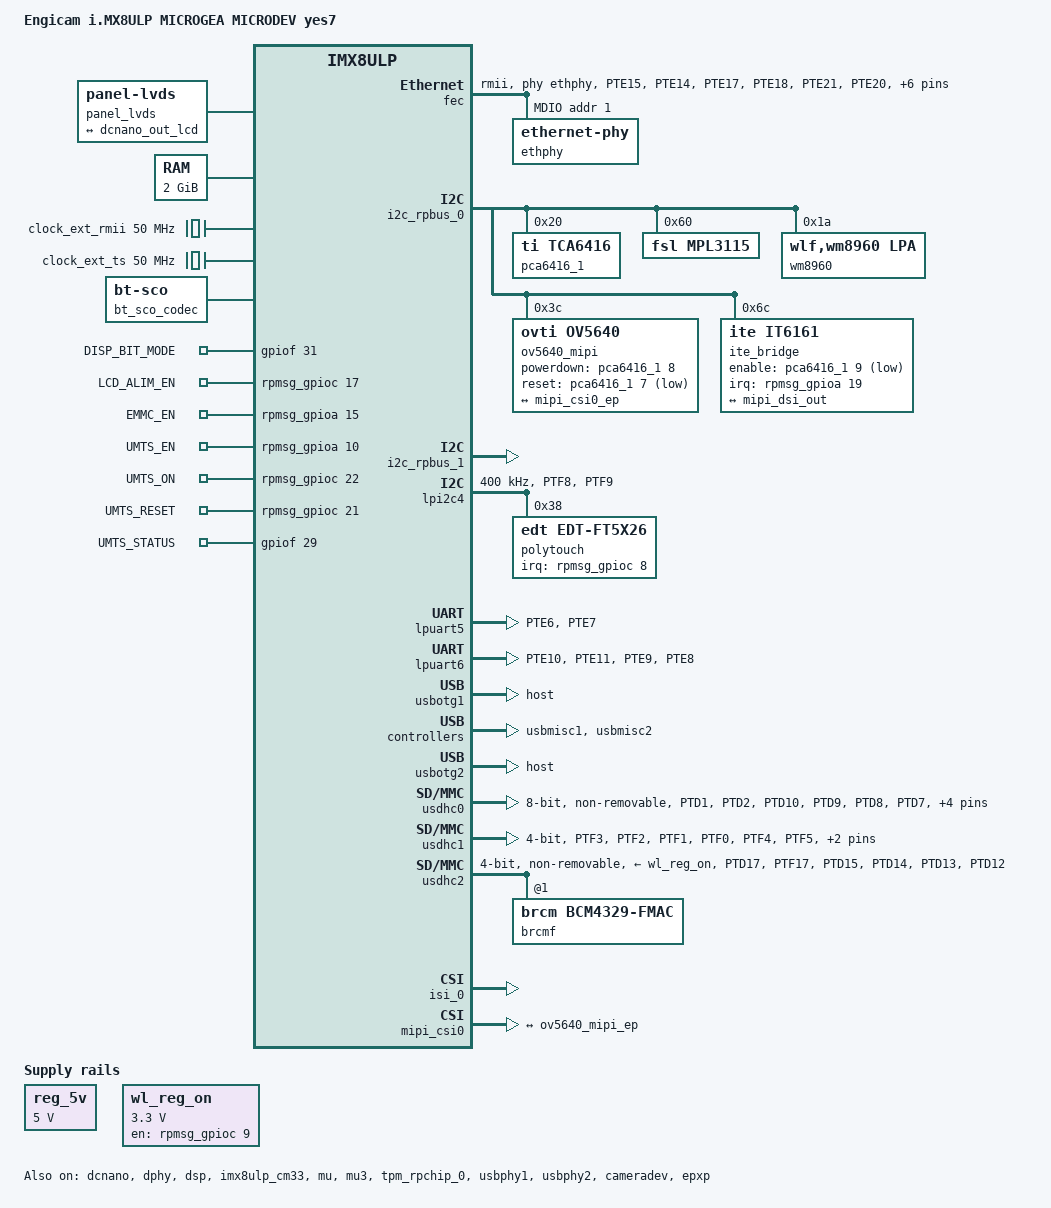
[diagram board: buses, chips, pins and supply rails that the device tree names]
// SPDX-License-Identifier: (GPL-2.0+ OR MIT)
/*
 * Copyright 2021 NXP
 */

/dts-v1/;

#include "../freescale/imx8ulp.dtsi"
#include "../freescale/imx8ulp-rpmsg.dtsi"
#include <dt-bindings/input/input.h>

/ {
	model = "Engicam i.MX8ULP MICROGEA MICRODEV yes7";
	compatible = "engi,imx8ulp", "fsl,imx8ulp";

	chosen {
		stdout-path = &lpuart5;
	};

	panel_lvds: panel-lvds {
		compatible = "panel-lvds";
		width-mm = <152>;
		height-mm = <92>;
		data-mapping = "vesa-24";
		status = "okay";

		panel-timing {
			/* 1024x600 @65Hz */
			clock-frequency = <60000000>;
			hactive = <1024>;
			vactive = <600>;
			hsync-len = <20>;
			hfront-porch = <150>;
			hback-porch = <150>;
			vfront-porch = <15>;
			vback-porch = <15>;
			vsync-len = <5>;
		};

		port {
			panel_in_rgb: endpoint {
				remote-endpoint = <&dcnano_out_lcd>;
			};
		};
	};

	memory@40000000 {
		device_type = "memory";
		reg = <0x0 0x80000000 0 0x80000000>;
	};

	rpmsg_keys: rpmsg-keys {
		compatible = "fsl,rpmsg-keys";

		volume-up {
			label = "VolumeUp";
			linux,code = <KEY_VOLUMEUP>;
			rpmsg-key,wakeup;
		};

		volume-down {
			label = "VolumeDown";
			linux,code = <KEY_VOLUMEDOWN>;
			rpmsg-key,wakeup;
		};
	};

	reserved-memory {
		#address-cells = <2>;
		#size-cells = <2>;
		ranges;

		linux,cma {
			compatible = "shared-dma-pool";
			reusable;
			size = <0 0x28000000>;
			linux,cma-default;
		};

		rsc_table: rsc-table@1fff8000{
			reg = <0 0x1fff8000 0 0x1000>;
			no-map;
		};

		dsp_reserved: dsp_reserved@8e000000 {
			reg = <0 0x8e000000 0 0x1000000>;
			no-map;
		};
		dsp_reserved_heap: dsp_reserved_heap {
			reg = <0 0x8f000000 0 0xef0000>;
			no-map;
		};
		dsp_vdev0vring0: vdev0vring0@8fef0000 {
			reg = <0 0x8fef0000 0 0x8000>;
			no-map;
		};
		dsp_vdev0vring1: vdev0vring1@8fef8000 {
			reg = <0 0x8fef8000 0 0x8000>;
			no-map;
		};
		dsp_vdev0buffer: vdev0buffer@8ff00000 {
			compatible = "shared-dma-pool";
			reg = <0 0x8ff00000 0 0x100000>;
			no-map;
		};

		vdev0vring0: vdev0vring0@aff00000 {
			reg = <0 0xaff00000 0 0x8000>;
			no-map;
		};

		vdev0vring1: vdev0vring1@aff08000 {
			reg = <0 0xaff08000 0 0x8000>;
			no-map;
		};

		vdev1vring0: vdev1vring0@aff10000 {
			reg = <0 0xaff10000 0 0x8000>;
			no-map;
		};

		vdev1vring1: vdev1vring1@aff18000 {
			reg = <0 0xaff18000 0 0x8000>;
			no-map;
		};

		vdevbuffer: vdevbuffer@a8400000 {
			compatible = "shared-dma-pool";
			reg = <0 0xa8400000 0 0x100000>;
			no-map;
		};

		audio_reserved: audio@a8500000 {
			compatible = "shared-dma-pool";
			no-map;
			reg = <0 0xa8500000 0 0x100000>;
		};

		m33_reserved: m33_noncacheable_section@a8600000 {
			no-map;
			reg = <0 0xa8600000 0 0x1000000>;
		};
	};

	clock_ext_rmii: clock-ext-rmii {
		compatible = "fixed-clock";
		clock-frequency = <50000000>;
		clock-output-names = "ext_rmii_clk";
		#clock-cells = <0>;
	};

	clock_ext_ts: clock-ext-ts {
		compatible = "fixed-clock";
		/* External ts clock is 50MHZ from PHY on EVK board. */
		clock-frequency = <50000000>;
		clock-output-names = "ext_ts_clk";
		#clock-cells = <0>;
	};

	reg_5v: regulator-5v {
		compatible = "regulator-fixed";
		regulator-name = "5V";
		regulator-min-microvolt = <5000000>;
		regulator-max-microvolt = <5000000>;
		regulator-always-on;
	};

	bt_sco_codec: bt_sco_codec {
		#sound-dai-cells = <1>;
		compatible = "linux,bt-sco";
	};

	sound-bt-sco {
		compatible = "simple-audio-card";
		simple-audio-card,name = "bt-sco-audio";
		simple-audio-card,format = "dsp_a";
		simple-audio-card,bitclock-inversion;
		simple-audio-card,frame-master = <&btcpu>;
		simple-audio-card,bitclock-master = <&btcpu>;

		btcpu: simple-audio-card,cpu {
			sound-dai = <&sai5>;
			dai-tdm-slot-num = <2>;
			dai-tdm-slot-width = <16>;
		};

		simple-audio-card,codec {
			sound-dai = <&bt_sco_codec 1>;
		};
	};

	sound-spdif {
		compatible = "fsl,imx-audio-spdif";
		model = "imx-spdif";
		spdif-controller = <&spdif>;
		spdif-out;
		fsl,constraint-rate = <16000>, <32000>, <48000>,
				      <64000>, <96000>, <192000>;
	};

	rpmsg_audio: rpmsg-audio {
		compatible = "fsl,imx8ulp-rpmsg-audio";
		model = "wm8960-audio";
		fsl,rpmsg-out;
		fsl,rpmsg-in;
		audio-codec = <&wm8960>;
		memory-region = <&audio_reserved>;
		audio-routing =
			"LINPUT1", "MICB",
			"LINPUT3", "MICB";
		status = "okay";
	};

	gpio_export {
		compatible = "gpio-export";
		#size-cells = <0>;

		DISP_BIT_MODE {
			gpio-export,name = "DISP_BIT_MODE";
			gpio-export,output = <0>;
			gpios = <&gpiof 31 0>;
		};

		LCD_ALIM_EN {
			gpio-export,name = "LCD_ALIM_EN";
			gpio-export,output = <1>;
			gpios = <&rpmsg_gpioc 17 0>;
		};

		EMMC_EN {
			gpio-export,name = "EMMC_EN";
			gpio-export,output = <0>;
			gpios = <&rpmsg_gpioa 15 0>;
		};

		UMTS_EN {
			gpio-export,name = "UMTS_EN";
			gpio-export,output = <1>;
			gpios = <&rpmsg_gpioa 10 0>;
		};

		UMTS_ON {
			gpio-export,name = "UMTS_ON";
			gpio-export,output = <0>;
			gpios = <&rpmsg_gpioc 22 0>;
		};

		UMTS_RESET {
			gpio-export,name = "UMTS_RESET";
			gpio-export,output = <0>;
			gpios = <&rpmsg_gpioc 21 0>;
		};

		UMTS_STATUS {
			gpio-export,name = "UMTS_STATUS";
			gpio-export,input = <1>;
			gpios = <&gpiof 29 0>;
		};
	};

	wl_reg_on: regulator-wlregon {
		compatible = "regulator-fixed";
		regulator-name = "WL_REG_ON";
		regulator-min-microvolt = <3300000>;
		regulator-max-microvolt = <3300000>;
		gpio = <&rpmsg_gpioc 9 GPIO_ACTIVE_HIGH>;
		enable-active-high;
	};
};

&dcnano {
	pinctrl-names = "default";
	pinctrl-0 = <&pinctrl_lcd>;
	status = "okay";

	ports {
		#address-cells = <1>;
		#size-cells = <0>;

		port@0 {
			#address-cells = <1>;
			#size-cells = <0>;
			reg = <0>;
			dcnano_out_lcd: endpoint@1 {
				remote-endpoint = <&panel_in_rgb>;
			};
		};
	};
};

&dphy {
	status = "okay";
};

&dsi {
	status = "disabled";
	ports {
		port@1 {
			reg = <1>;
			mipi_dsi_out: endpoint {
				remote-endpoint = <&it6161_from_dsim>;
			};
		};
	};
};

&dsp {
	assigned-clocks = <&cgc2 IMX8ULP_CLK_HIFI_SEL>;
	assigned-clock-parents = <&cgc2 IMX8ULP_CLK_PLL4>;
	memory-region = <&dsp_vdev0buffer>, <&dsp_vdev0vring0>,
			<&dsp_vdev0vring1>, <&dsp_reserved>;
	status = "okay";
};

&fec {
	pinctrl-names = "default", "sleep";
	pinctrl-0 = <&pinctrl_enet>;
	pinctrl-1 = <&pinctrl_enet>;
	clocks = <&cgc1 IMX8ULP_CLK_XBAR_DIVBUS>,
		 <&pcc4 IMX8ULP_CLK_ENET>,
		 <&cgc1 IMX8ULP_CLK_ENET_TS_SEL>,
		 <&clock_ext_rmii>;
	clock-names = "ipg", "ahb", "ptp", "enet_clk_ref";
	assigned-clocks = <&cgc1 IMX8ULP_CLK_ENET_TS_SEL>;
	assigned-clock-parents = <&clock_ext_ts>;
	phy-mode = "rmii";
	phy-handle = <&ethphy>;
	status = "okay";

	phy-reset-gpios = <&gpioe 13 GPIO_ACTIVE_LOW>;

	mdio {
		#address-cells = <1>;
		#size-cells = <0>;

		ethphy: ethernet-phy@1 {
			reg = <1>;
			micrel,led-mode = <1>;
		};
	};
};

&i2c_rpbus_0 {
	#address-cells = <1>;
	#size-cells = <0>;
	status = "okay";

	pca6416_1: gpio@20 {
		compatible = "ti,tca6416";
		reg = <0x20>;
		gpio-controller;
		#gpio-cells = <2>;
	};

	mpl3115@60 {
		compatible = "fsl,mpl3115";
		reg = <0x60>;
	};

	wm8960: wm8960@1a {
		compatible = "wlf,wm8960,lpa";
		reg = <0x1a>;
		wlf,shared-lrclk;
		clocks = <&wm8960_mclk>;
		clock-names = "mclk";
	};

	ov5640_mipi: ov5640_mipi@3c {
		compatible = "ovti,ov5640";
		reg = <0x3c>;
		clocks = <&cgc2 IMX8ULP_CLK_DSI_PHY_REF>;
		clock-names = "xclk";
		powerdown-gpios = <&pca6416_1 8 GPIO_ACTIVE_HIGH>;
		reset-gpios = <&pca6416_1 7 GPIO_ACTIVE_LOW>;
		status = "okay";
		port {
			ov5640_mipi_ep: endpoint {
				remote-endpoint = <&mipi_csi0_ep>;
				data-lanes = <1 2>;
				clocks-lanes = <0>;
			};
		};
	};

	ite_bridge: it6161@6c {
		compatible = "ite,it6161";
		reg = <0x6c>;
		it6161-addr-hdmi-tx = <0x4c>;
		enable-gpios = <&pca6416_1 9 GPIO_ACTIVE_LOW>;
		interrupt-parent = <&rpmsg_gpioa>;
		interrupts = <19 IRQ_TYPE_LEVEL_LOW>;
		status = "okay";

		port {
			it6161_from_dsim: endpoint {
				remote-endpoint = <&mipi_dsi_out>;
			};
		};
	};
};

&i2c_rpbus_1 {
	#address-cells = <1>;
	#size-cells = <0>;
	status = "okay";
};

&lpi2c4 {
	#address-cells = <1>;
	#size-cells = <0>;
	clock-frequency = <400000>;
	pinctrl-names = "default", "sleep";
	pinctrl-0 = <&pinctrl_lpi2c4>;
	pinctrl-1 = <&pinctrl_lpi2c4>;
	status = "okay";

	polytouch: edt-ft5x26@38 {
		compatible = "edt,edt-ft5x26";
		reg = <0x38>;
		pinctrl-names = "default";
		pinctrl-0 = <&pinctrl_edt_ft5x06>;
		interrupt-parent = <&rpmsg_gpioc>;
		interrupts = <8 IRQ_TYPE_EDGE_FALLING>;
	};
};

&imx8ulp_cm33 {
	ipc-only;
	rsc-da=<0x1fff8000>;
	mbox-names = "tx", "rx", "rxdb";
	mboxes = <&mu 0 1
			&mu 1 1
			&mu 3 1>;
	memory-region = <&vdevbuffer>, <&vdev0vring0>, <&vdev0vring1>,
			<&vdev1vring0>, <&vdev1vring1>, <&rsc_table>;
	status = "okay";
};

&lpuart5 {
	/* console */
	pinctrl-names = "default", "sleep";
	pinctrl-0 = <&pinctrl_lpuart5>;
	pinctrl-1 = <&pinctrl_lpuart5>;
	status = "okay";
};

&lpuart6 {
	/* RS485 */
	pinctrl-names = "default", "sleep";
	pinctrl-0 = <&pinctrl_lpuart6>;
	pinctrl-1 = <&pinctrl_lpuart6>;
	status = "okay";
};

&mu {
	status = "okay";
};

&mu3 {
	status = "okay";
};

&tpm_rpchip_0 {
	status = "okay";
};

&usbotg1 {
	dr_mode = "host";
	hnp-disable;
	srp-disable;
	adp-disable;
	disable-over-current;
	status = "okay";
};

&usbphy1 {
	status = "okay";
};

&usbmisc1 {
	status = "okay";
};

&usbotg2 {
	dr_mode = "host";
	hnp-disable;
	srp-disable;
	adp-disable;
	disable-over-current;
	status = "okay";
};

&usbphy2 {
	status = "okay";
};

&usbmisc2 {
	status = "okay";
};

&usdhc0 {
	pinctrl-names = "default";
	pinctrl-0 = <&pinctrl_usdhc0>;
	max-frequency = <50000000>;
	no-1-8-v;
	no-mmc-hs400;
	non-removable;
	bus-width = <8>;
	status = "okay";
};

&usdhc1 {
	pinctrl-names = "default";
	pinctrl-0 = <&pinctrl_usdhc1>;
	cd-gpios = <&gpiod 16 GPIO_ACTIVE_LOW>;
	max-frequency = <50000000>;
	bus-width = <4>;
	no-1-8-v;
	pm-ignore-notify;
	keep-power-in-suspend;
	status = "okay";
};

&usdhc2 {
	#address-cells = <1>;
	#size-cells = <0>;
	pinctrl-names = "default";
	pinctrl-0 = <&pinctrl_usdhc2>;
	bus-width = <4>;
	no-1-8-v;
	pm-ignore-notify;
	keep-power-in-suspend;
	non-removable;
	vmmc-supply = <&wl_reg_on>;
	status = "okay";

	brcmf: bcrmf@1 {
		reg = <1>;
		compatible = "brcm,bcm4329-fmac";
	};
};

&iomuxc1 {
	pinctrl-names = "default";
	pinctrl-0 = <&pinctrl_hog>;

	pinctrl_hog: hoggrp {
		fsl,pins = <
			MX8ULP_PAD_PTF29__PTF29	0x1b0b0 /* UMTS_STATUS */
		>;
	};

	pinctrl_edt_ft5x06: edtft5x06grp{
		fsl,pins = <
			MX8ULP_PAD_PTF31__PTF31 0x3
		>;
	};

	pinctrl_lcd: lcdgrp {
		fsl,pins = <
			MX8ULP_PAD_PTF23__DPI0_D0   	0x43
			MX8ULP_PAD_PTF22__DPI0_D1   	0x43
			MX8ULP_PAD_PTF21__DPI0_D2   	0x43
			MX8ULP_PAD_PTF20__DPI0_D3  		0x43
			MX8ULP_PAD_PTF19__DPI0_D4		0x43
			MX8ULP_PAD_PTF18__DPI0_D5   	0x43
			MX8ULP_PAD_PTD11__DPI0_D6		0x43
			MX8ULP_PAD_PTF16__DPI0_D7		0x43
			MX8ULP_PAD_PTF15__DPI0_D8		0x43
			MX8ULP_PAD_PTF14__DPI0_D9		0x43
			MX8ULP_PAD_PTF13__DPI0_D10		0x43
			MX8ULP_PAD_PTF12__DPI0_D11		0x43
			MX8ULP_PAD_PTF11__DPI0_D12		0x43
			MX8ULP_PAD_PTF10__DPI0_D13		0x43
			MX8ULP_PAD_PTD19__DPI0_D14		0x43
			MX8ULP_PAD_PTD20__DPI0_D15		0x43
			MX8ULP_PAD_PTD21__DPI0_D16		0x43
			MX8ULP_PAD_PTD22__DPI0_D17		0x43
			MX8ULP_PAD_PTD23__DPI0_D18		0x43
			MX8ULP_PAD_PTE0__DPI0_D19		0x43
			MX8ULP_PAD_PTE1__DPI0_D20		0x43
			MX8ULP_PAD_PTE2__DPI0_D21		0x43
			MX8ULP_PAD_PTE3__DPI0_D22		0x43
			MX8ULP_PAD_PTE4__DPI0_D23		0x43
			MX8ULP_PAD_PTF26__DPI0_HSYNC	0x43
			MX8ULP_PAD_PTF25__DPI0_VSYNC	0x43
			MX8ULP_PAD_PTF24__DPI0_PCLK		0x43
			MX8ULP_PAD_PTF27__DPI0_DE		0x43
		>;
	};

	pinctrl_enet: enetgrp {
		fsl,pins = <
			MX8ULP_PAD_PTE15__ENET0_MDC     0x43
			MX8ULP_PAD_PTE14__ENET0_MDIO    0x43
			MX8ULP_PAD_PTE17__ENET0_RXER    0x43
			MX8ULP_PAD_PTE18__ENET0_CRS_DV  0x43
			MX8ULP_PAD_PTE21__ENET0_RXD0    0x43
			MX8ULP_PAD_PTE20__ENET0_RXD1    0x43
			MX8ULP_PAD_PTE16__ENET0_TXEN    0x43
			MX8ULP_PAD_PTE23__ENET0_TXD0    0x43
			MX8ULP_PAD_PTE22__ENET0_TXD1    0x43
			MX8ULP_PAD_PTE19__ENET0_REFCLK  0x43
			MX8ULP_PAD_PTE13__PTE13		  	0x43
		>;
	};

	pinctrl_lpuart5: lpuart5grp {
		fsl,pins = <
			MX8ULP_PAD_PTE6__LPUART5_TX	0x3
			MX8ULP_PAD_PTE7__LPUART5_RX	0x3
		>;
	};

	pinctrl_lpuart6: lpuart6grp {
		fsl,pins = <
			MX8ULP_PAD_PTE10__LPUART6_TX	0x3
			MX8ULP_PAD_PTE11__LPUART6_RX	0x3
			MX8ULP_PAD_PTE9__LPUART6_RTS_B	0x3
			MX8ULP_PAD_PTE8__LPUART6_CTS_B	0x3
		>;
	};

	pinctrl_lpi2c4: lpi2c4grp {
		fsl,pins = <
			MX8ULP_PAD_PTF8__LPI2C4_SCL	0x20
			MX8ULP_PAD_PTF9__LPI2C4_SDA	0x20
		>;
	};

	pinctrl_usdhc0: usdhc0grp {
		fsl,pins = <
			MX8ULP_PAD_PTD1__SDHC0_CMD	0x3
			MX8ULP_PAD_PTD2__SDHC0_CLK	0x10002
			MX8ULP_PAD_PTD10__SDHC0_D0	0x3
			MX8ULP_PAD_PTD9__SDHC0_D1	0x3
			MX8ULP_PAD_PTD8__SDHC0_D2	0x3
			MX8ULP_PAD_PTD7__SDHC0_D3	0x3
			MX8ULP_PAD_PTD6__SDHC0_D4	0x3
			MX8ULP_PAD_PTD5__SDHC0_D5	0x3
			MX8ULP_PAD_PTD4__SDHC0_D6	0x3
			MX8ULP_PAD_PTD3__SDHC0_D7	0x3
		>;
	};

	pinctrl_usdhc1: usdhc1grp {
		fsl,pins = <
			MX8ULP_PAD_PTF3__SDHC1_CMD	0x3
			MX8ULP_PAD_PTF2__SDHC1_CLK	0x10002
			MX8ULP_PAD_PTF1__SDHC1_D0	0x3
			MX8ULP_PAD_PTF0__SDHC1_D1	0x3
			MX8ULP_PAD_PTF4__SDHC1_D3	0x3
			MX8ULP_PAD_PTF5__SDHC1_D2	0x3
			MX8ULP_PAD_PTD16__PTD16		0x3
		>;
	};

	pinctrl_usdhc2: usdhc2grp {
		fsl,pins = <
			MX8ULP_PAD_PTD17__SDHC2_CMD	0x3
			MX8ULP_PAD_PTF17__SDHC2_CLK	0x10002
			MX8ULP_PAD_PTD15__SDHC2_D0	0x3
			MX8ULP_PAD_PTD14__SDHC2_D1	0x3
			MX8ULP_PAD_PTD13__SDHC2_D2	0x3
			MX8ULP_PAD_PTD12__SDHC2_D3	0x3
		>;
	};

};

&cameradev {
	status = "okay";
};

&isi_0 {
	status = "okay";

	cap_device {
		status = "okay";
	};
};

&mipi_csi0 {
	#address-cells = <1>;
	#size-cells = <0>;

	status = "okay";
	port@0 {
		reg = <0>;
		mipi_csi0_ep: endpoint {
			remote-endpoint = <&ov5640_mipi_ep>;
			data-lanes = <1 2>;
			bus-type = <4>;
		};
	};
};

&epxp {
	status = "okay";
};
